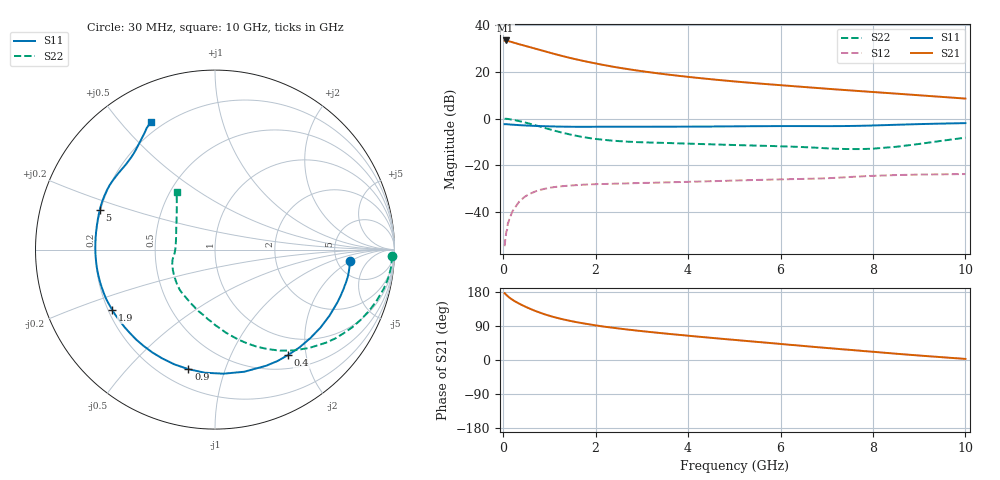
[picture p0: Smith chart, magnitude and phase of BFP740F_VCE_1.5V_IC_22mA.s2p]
! Infineon Technologies  Discrete & RF Semiconductors
! BFP740F
! VCE =  1.5 V,  IC =  22 mA
! Common Emitter S-Parameters:  Oct 2012
# GHz  S  MA  R  50
!  f  S11  S21  S12  S22
! GHz  MAG  ANG  MAG  ANG  MAG  ANG  MAG  ANG
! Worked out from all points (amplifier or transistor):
!   99 points, 30 MHz to 10 GHz, reference 50 ohm
!   highest |S21| = 33.6 dB at 50 MHz (marker M1)
!   |S21| within 3 dB of that: start of sweep to 600.6 MHz
!   unconditionally stable (mu >= 1): 5.655 GHz to end of sweep
!   at 350 MHz: K = 0.15, MSG = 33.8 dB, |S12| = -35.7 dB
!   at 3.5 GHz: K = 0.71, MSG = 23.3 dB, |S12| = -27.5 dB
!   at 10 GHz: K = 1.22, MAG = 13.4 dB, |S12| = -23.9 dB
!   S11 on the Smith chart (normalised r, x): 30 MHz: 6.58, -1.93; 400 MHz: 0.70, -1.69; 900 MHz: 0.30, -0.76; 1.9 GHz: 0.22, -0.26; 5 GHz: 0.20, +0.16; 10 GHz: 0.16, +0.61
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0.03  0.755 -4.8  47.13 176.2  0.0018 86.1  0.9842 -2.1
0.05  0.7555 -7.8  47.65 173.9  0.0029 100.9  0.9862 -4.3
0.07  0.7555 -11.1  47.48 171.5  0.0038 83.4  0.9848 -6.3
0.12  0.7467 -18.7  45.9 166.0  0.0062 80.7  0.9718 -11.1
0.2  0.7366 -30.0  43.53 158.9  0.0101 76.9  0.9423 -18.1
0.3  0.7248 -42.8  40.77 151.7  0.0141 70.3  0.9002 -25.9
0.4  0.7148 -55.2  38.26 145.3  0.0182 64.7  0.8538 -33.2
0.6  0.6997 -76.6  33.74 134.1  0.0246 54.8  0.7599 -46.1
0.7  0.693 -86.1  31.63 129.2  0.0272 50.9  0.7136 -51.9
0.9  0.6824 -102.5  27.87 120.5  0.0309 44.0  0.6256 -62.3
1.1  0.6738 -115.8  24.57 113.2  0.0335 38.6  0.5503 -71.3
1.3  0.668 -126.7  21.8 107.1  0.0352 34.7  0.489 -79.2
1.5  0.6641 -135.7  19.5 101.9  0.0365 31.8  0.4409 -86.2
1.7  0.6628 -143.2  17.58 97.4  0.0376 29.6  0.4033 -92.7
1.9  0.6637 -149.5  15.99 93.4  0.0384 27.9  0.3747 -98.9
2.5  0.6654 -164.1  12.39 83.1  0.0399 24.5  0.3267 -114.6
3.4  0.6666 -179.0  9.219 71.1  0.042 22.8  0.3004 -129.6
5  0.6789 161.1  6.273 53.1  0.0463 22.1  0.269 -147.8
5.1  0.6803 160.0  6.149 52.0  0.0467 21.9  0.2675 -149.1
6.7  0.6861 142.7  4.6 34.9  0.0508 21.8  0.2375 -169.2
8.5  0.7332 124.6  3.427 16.6  0.0608 19.0  0.2465 151.1
10  0.796 116.5  2.681 2.9  0.0639 14.0  0.3874 123.5
